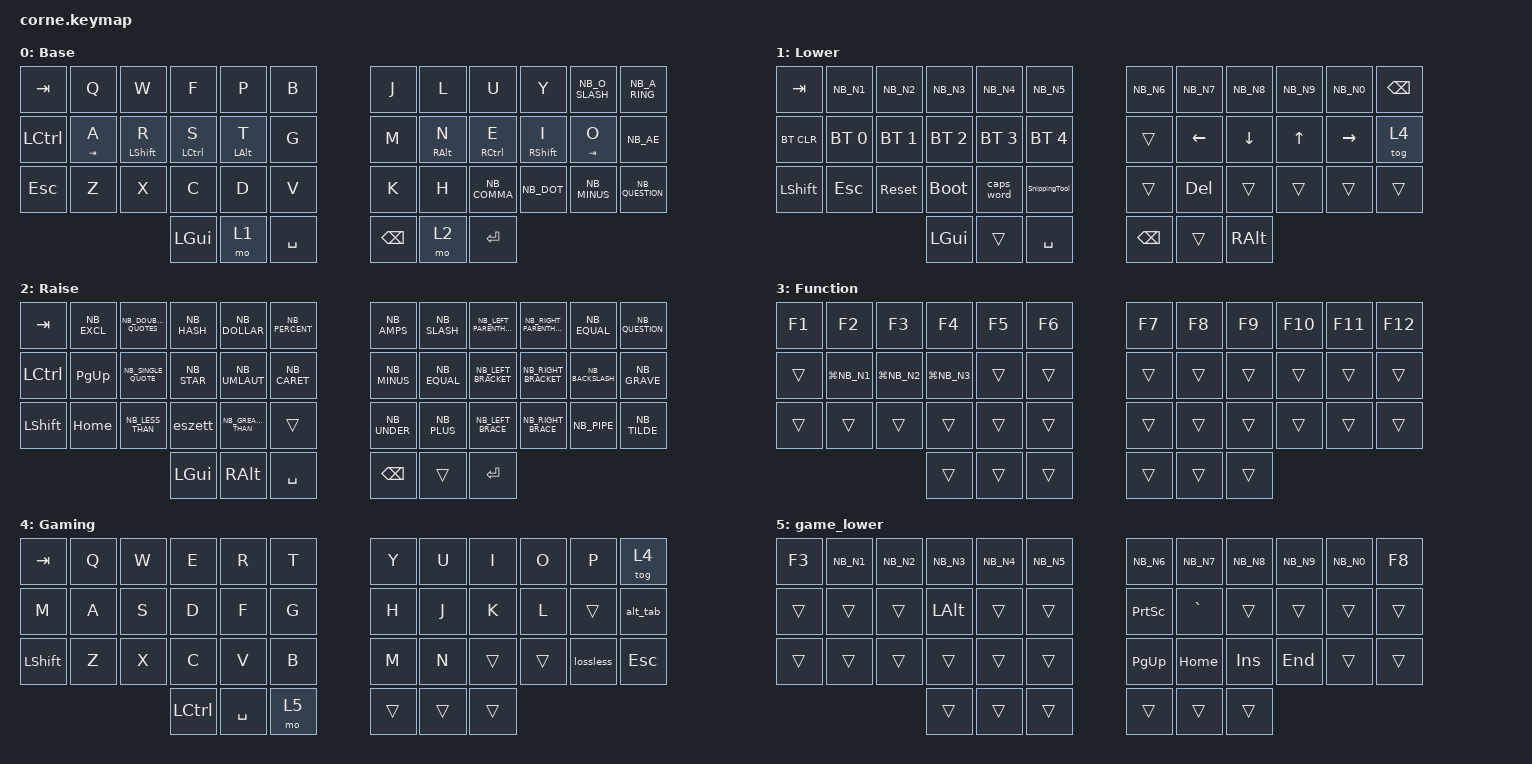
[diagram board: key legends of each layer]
/*
 * Copyright (c) 2020 The ZMK Contributors
 *
 * SPDX-License-Identifier: MIT
 */

#include "keys_nb.h"
#include <behaviors.dtsi>
#include <dt-bindings/zmk/bt.h>
#include <dt-bindings/zmk/keys.h>

#define GAME 3

/ {
};

/ {
    combos { compatible = "zmk,combos"; };

    macros {
        alt_tab: alt_tab {
            compatible = "zmk,behavior-macro";
            #binding-cells = <0>;
            bindings = <&kp LA(TAB)>;
            label = "ALT_TAB";
        };

        eszett: eszett {
            compatible = "zmk,behavior-macro";
            #binding-cells = <0>;
            bindings =
                <&macro_press>,
                <&kp LALT>,
                <&macro_tap>,
                <&kp KP_NUMBER_0 &kp KP_NUMBER_2 &kp KP_NUMBER_2 &kp KP_NUMBER_3>,
                <&macro_release>,
                <&kp LALT>;

            label = "ESZETT";
        };

        lossless: lossless {
            compatible = "zmk,behavior-macro";
            #binding-cells = <0>;
            bindings =
                <&macro_press>,
                <&kp LCTRL &kp LALT>,
                <&macro_tap>,
                <&kp S>,
                <&macro_release>,
                <&kp LCTRL &kp LALT>;

            label = "LOSSLESS";
        };

        SnippingTool: SnippingTool {
            compatible = "zmk,behavior-macro";
            #binding-cells = <0>;
            bindings =
                <&macro_press>,
                <&kp LEFT_WIN &kp LEFT_SHIFT>,
                <&macro_tap>,
                <&kp S>,
                <&macro_release>,
                <&kp LGUI &kp LEFT_SHIFT>;

            label = "SNIPPINGTOOL";
        };
    };

    behaviors {
        leftmodtap: leftmodtap {
            compatible = "zmk,behavior-hold-tap";
            label = "LEFTMODTAP";
            #binding-cells = <2>;
            bindings = <&kp>, <&kp>;

            tapping-term-ms = <280>;
            hold-trigger-key-positions = <6 30 18 31 19 7 9 8 20 32 21 33 34 22 10 36 37 38 39 40 41 0 12 24 11 23 35>;
            flavor = "balanced";
            require-prior-idle-ms = <150>;
            quick-tap-ms = <175>;
            hold-trigger-on-release;
        };

        rightmodtap: rightmodtap {
            compatible = "zmk,behavior-hold-tap";
            label = "RIGHTMODTAP";
            bindings = <&kp>, <&kp>;

            #binding-cells = <2>;
            tapping-term-ms = <280>;
            hold-trigger-key-positions = <5 17 29 28 16 4 3 15 27 26 14 2 1 13 25 36 37 38 39 40 41 0 12 24 11 23 35>;
            flavor = "balanced";
            quick-tap-ms = <175>;
            require-prior-idle-ms = <150>;
            hold-trigger-on-release;
        };
    };

    keymap {
        compatible = "zmk,keymap";

        default_layer {
            // -----------------------------------------------------------------------------------------
            // |  TAB |  Q  |  W  |  E  |  R  |  T  |   |  Y  |  U   |  I  |  O  |  P  | BKSP |
            // | CTRL |  A  |  S  |  D  |  F  |  G  |   |  H  |  J   |  K  |  L  |  ;  |  '   |
            // | SHFT |  Z  |  X  |  C  |  V  |  B  |   |  N  |  M   |  ,  |  .  |  /  | ESC  |
            //                    | GUI | LWR | SPC |   | ENT | RSE  | ALT |

            display-name = "Base";
            bindings = <
&kp TAB    &kp Q              &kp W                     &kp F                       &kp P                   &kp B        &kp J          &kp L                     &kp U                 &kp Y                       &kp NB_O_SLASH      &kp NB_A_RING
&kp LCTRL  &leftmodtap TAB A  &leftmodtap LEFT_SHIFT R  &leftmodtap LEFT_CONTROL S  &leftmodtap LEFT_ALT T  &kp G        &kp M          &rightmodtap RIGHT_ALT N  &rightmodtap RCTRL E  &rightmodtap RIGHT_SHIFT I  &rightmodtap TAB O  &kp NB_AE
&kp ESC    &kp Z              &kp X                     &kp C                       &kp D                   &kp V        &kp K          &kp H                     &kp NB_COMMA          &kp NB_DOT                  &kp NB_MINUS        &kp NB_QUESTION
                                                        &kp LGUI                    &mo 1                   &kp SPACE    &kp BACKSPACE  &mo 2                     &kp RET
            >;
        };

        lower_layer {
            // -----------------------------------------------------------------------------------------
            // |  TAB |  1  |  2  |  3  |  4  |  5  |   |  6  |  7  |  8  |  9  |  0  | BKSP |
            // | BTCLR| BT1 | BT2 | BT3 | BT4 | BT5 |   | LFT | DWN |  UP | RGT |     |      |
            // | SHFT |     |     |     |     |     |   |     |     |     |     |     |      |
            //                    | GUI |     | SPC |   | ENT |     | ALT |

            display-name = "Lower";
            bindings = <
&kp TAB     &kp NB_N1     &kp NB_N2     &kp NB_N3     &kp NB_N4     &kp NB_N5        &kp NB_N6      &kp NB_N7   &kp NB_N8  &kp NB_N9  &kp NB_N0  &kp BSPC
&bt BT_CLR  &bt BT_SEL 0  &bt BT_SEL 1  &bt BT_SEL 2  &bt BT_SEL 3  &bt BT_SEL 4     &trans         &kp LEFT    &kp DOWN   &kp UP     &kp RIGHT  &tog 4
&kp LSHFT   &kp ESC       &sys_reset    &bootloader   &caps_word    &SnippingTool    &trans         &kp DELETE  &trans     &trans     &trans     &trans
                                        &kp LGUI      &trans        &kp SPACE        &kp BACKSPACE  &trans      &kp RALT
            >;
        };

        raise_layer {
            // -----------------------------------------------------------------------------------------
            // |  TAB |  !  |  @  |  #  |  $  |  %  |   |  ^  |  &  |  *  |  (  |  )  | BKSP |
            // | CTRL |     |     |     |     |     |   |  -  |  =  |  [  |  ]  |  \  |  `   |
            // | SHFT |     |     |     |     |     |   |  _  |  +  |  {  |  }  | "|" |  ~   |
            //                    | GUI |     | SPC |   | ENT |     | ALT |

            display-name = "Raise";
            bindings = <
&kp TAB    &kp NB_EXCL  &kp NB_DOUBLE_QUOTES  &kp NB_HASH  &kp NB_DOLLAR        &kp NB_PERCENT    &kp NB_AMPS   &kp NB_SLASH  &kp NB_LEFT_PARENTHESIS  &kp NB_RIGHT_PARENTHESIS  &kp NB_EQUAL      &kp NB_QUESTION
&kp LCTRL  &kp PAGE_UP  &kp NB_SINGLE_QUOTE   &kp NB_STAR  &kp NB_UMLAUT        &kp NB_CARET      &kp NB_MINUS  &kp NB_EQUAL  &kp NB_LEFT_BRACKET      &kp NB_RIGHT_BRACKET      &kp NB_BACKSLASH  &kp NB_GRAVE
&kp LSHFT  &kp HOME     &kp NB_LESS_THAN      &eszett      &kp NB_GREATER_THAN  &trans            &kp NB_UNDER  &kp NB_PLUS   &kp NB_LEFT_BRACE        &kp NB_RIGHT_BRACE        &kp NB_PIPE       &kp NB_TILDE
                                              &kp LGUI     &kp RIGHT_ALT        &kp SPACE         &kp BKSP      &trans        &kp RET
            >;
        };

        Function {
            bindings = <
&kp F1  &kp F2         &kp F3         &kp F4         &kp F5  &kp F6    &kp F7  &kp F8  &kp F9  &kp F10  &kp F11  &kp F12
&trans  &kp LG(NB_N1)  &kp LG(NB_N2)  &kp LG(NB_N3)  &trans  &trans    &trans  &trans  &trans  &trans   &trans   &trans
&trans  &trans         &trans         &trans         &trans  &trans    &trans  &trans  &trans  &trans   &trans   &trans
                                      &trans         &trans  &trans    &trans  &trans  &trans
            >;
        };

        gaming {
            display-name = "Gaming";
            bindings = <
&kp TAB    &kp Q  &kp W  &kp E      &kp R      &kp T    &kp Y   &kp U   &kp I   &kp O   &kp P      &tog 4
&kp M      &kp A  &kp S  &kp D      &kp F      &kp G    &kp H   &kp J   &kp K   &kp L   &trans     &alt_tab
&kp LSHFT  &kp Z  &kp X  &kp C      &kp V      &kp B    &kp M   &kp N   &trans  &trans  &lossless  &kp ESC
                         &kp LCTRL  &kp SPACE  &mo 5    &trans  &trans  &trans
            >;
        };

        game_lower {
            bindings = <
&kp F3  &kp NB_N1  &kp NB_N2  &kp NB_N3     &kp NB_N4  &kp NB_N5    &kp NB_N6        &kp NB_N7  &kp NB_N8  &kp NB_N9  &kp NB_N0  &kp F8
&trans  &trans     &trans     &kp LEFT_ALT  &trans     &trans       &kp PRINTSCREEN  &kp GRAVE  &trans     &trans     &trans     &trans
&trans  &trans     &trans     &trans        &trans     &trans       &kp PAGE_UP      &kp HOME   &kp INS    &kp END    &trans     &trans
                              &trans        &trans     &trans       &trans           &trans     &trans
            >;
        };
    };

    conditional_layers {
        compatible = "zmk,conditional-layers";

        FunctionLayer {
            if-layers = <1 2>;
            then-layer = <3>;
        };
    };
};
